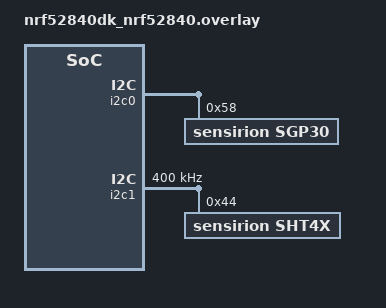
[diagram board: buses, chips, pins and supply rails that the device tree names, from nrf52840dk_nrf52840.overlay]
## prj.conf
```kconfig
CONFIG_FPU=y
CONFIG_I2C=y
CONFIG_CRC=y
CONFIG_AUXDISPLAY=y
CONFIG_AUXDISPLAY_AC780S=y
CONFIG_SENSOR=y
CONFIG_SGP30=y
CONFIG_SHT4X=y
CONFIG_BT=y
CONFIG_BT_DEVICE_NAME="nrf52840"
CONFIG_BT_PERIPHERAL=y
```

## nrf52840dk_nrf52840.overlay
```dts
&i2c0 {

    sgp30@58 {
        status = "okay";
        compatible = "sensirion,sgp30";
        reg = <0x58>;
    };
	
    //ac780s@3c {
	//	status = "okay";
	//	compatible = "ac780s";
	//	reg = <0x3C>;
	//	columns = <8>;
	//	rows = <2>;
	//};
};

&i2c1 {
	status = "okay";
	clock-frequency = <I2C_BITRATE_FAST>;
    
	sht4x@44 {
		status = "okay";
		compatible = "sensirion,sht4x";
		reg = <0x44>;
		repeatability = <2>;
	};
};

&pinctrl {
	i2c0_default: i2c0_default{
		group1 {
			psels = <NRF_PSEL(TWIM_SDA, 0, 26)>,
				<NRF_PSEL(TWIM_SCL, 0, 27)>;
			bias-pull-up;
		};
	};

	i2c0_sleep: i2c0_sleep{
		group1 {
			psels = <NRF_PSEL(TWIM_SDA, 0, 26)>,
				<NRF_PSEL(TWIM_SCL, 0, 27)>;
			low-power-enable;
		};
	};

};
```

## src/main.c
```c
#include <zephyr/kernel.h>

#include <zephyr/device.h>
#include <zephyr/drivers/sensor.h>
#include <zephyr/drivers/auxdisplay.h>
#include <stdio.h>
#include <math.h>
#define M_E 2.71828182845904523536
#include <zephyr/bluetooth/bluetooth.h>
#include <zephyr/bluetooth/hci.h>
#include <zephyr/bluetooth/conn.h>
#include <zephyr/bluetooth/uuid.h>
#include <zephyr/bluetooth/gatt.h>

#include <zephyr/drivers/sensor/sht4x.h>

//const static struct device *i2c0_disp = DEVICE_DT_GET(DT_CHILD(DT_NODELABEL(i2c0), ac780s_3c));
//const static struct device *i2c0_disp = DEVICE_DT_GET(DT_CHILD(DT_NODELABEL(i2c0), serlcd_72));
const static struct device *i2c1_therm = DEVICE_DT_GET(DT_CHILD(DT_NODELABEL(i2c1), sht4x_44));
const static struct device *i2c0_gas = DEVICE_DT_GET(DT_CHILD(DT_NODELABEL(i2c0), sgp30_58));

// define custom service UUID --> this is just something random I came up with, there are standard
// UUIDs for generic thermometers so a more refined version should use that
#define BT_UUID_CUSTOM_SERVICE_VAL \
    BT_UUID_128_ENCODE(0x90019001, 0x9001, 0x9001, 0x9001, 0x900190019001)

// init struct to hold custom uuid in little endian format
static const struct bt_uuid_128 custom_uuid = BT_UUID_INIT_128(
	BT_UUID_CUSTOM_SERVICE_VAL);

// custom UUID for temperature characteristic
static const struct bt_uuid_128 temp_uuid = BT_UUID_INIT_128(
	BT_UUID_128_ENCODE(0x90019001, 0xFFFF, 0xFFFF, 0xFFFF, 0x900190019001));

// custom UUID for humidity characteristic
static const struct bt_uuid_128 hum_uuid = BT_UUID_INIT_128(
	BT_UUID_128_ENCODE(0x90019001, 0x0000, 0x0000, 0x0000, 0x900190019001));

// values for each thing to transmit (temperature and humidity)
// these don't have to be arrays, just a uint would be fine you would just need to pass
// a pointer pointing to the uint when calling bt_gatt_attr_read
// keeping these as arrays also allows for easier extension... probably will put
// sensor val1 in index 0, sensor val2 in index 1
static uint8_t temp_value[1] = {66};
static uint8_t hum_value[1] = {77};

// functions to read temp and hum values over ble
static ssize_t read_temp(struct bt_conn *conn, const struct bt_gatt_attr *attr, 
    void *buf, uint16_t len, uint16_t offset) {
    // conn = ble connection object(?)
    // attr = attribute to read (temp or hum characteristic)
    // buf = buffer to store the value(s) (this is created by the gatt API)
    // len = length of the buffer (also handled by gatt API)
    // offset = offset within gatt buffer (or attribute value?) to start from
    // temp_value = pointer to value to send over BLE
    // 1 --> value_len = num bytes to read
    return bt_gatt_attr_read(conn, attr, buf, len, offset, temp_value, 1);
}

static ssize_t read_hum(struct bt_conn *conn, const struct bt_gatt_attr *attr, 
    void *buf, uint16_t len, uint16_t offset) {
    
    return bt_gatt_attr_read(conn, attr, buf, len, offset, hum_value, 1);
}

// declare a custom service for temp and hum
BT_GATT_SERVICE_DEFINE(temp_svc,
	BT_GATT_PRIMARY_SERVICE(&custom_uuid),      // say it's the primary service of the device
	BT_GATT_CHARACTERISTIC(
        &temp_uuid.uuid,            // give it a characteristic
		BT_GATT_CHRC_READ,              // with read property
		BT_GATT_PERM_READ,              // with attribute read permission
		read_temp,                      // read callback function
        NULL,                           // write callback function
        temp_value                      // value for the characteristic
    ),
    BT_GATT_CHARACTERISTIC(
        &hum_uuid.uuid,
        BT_GATT_CHRC_READ,
        BT_GATT_PERM_READ,
        read_hum,
        NULL,
        hum_value
    )
);

// data packet struct for advertising
// not all attributes need to be listed here to appear in the attribute table
// removing things from here will remove avertised characteristics
// need to figure out what the data flags, ad general, no bredr line does...
static const struct bt_data ad[] = {
	BT_DATA_BYTES(BT_DATA_FLAGS, (BT_LE_AD_GENERAL | BT_LE_AD_NO_BREDR)),
	BT_DATA_BYTES(BT_DATA_UUID128_ALL, BT_UUID_CUSTOM_SERVICE_VAL),
};

// function to call to start advertising, most examples had it passed to 
// ble_enable as an argument, then ble_enabled it, but that doesn't seem
// to be required
static void bt_ready() {

    int err = 0;

    printk("BLE init'ed\n");

    // start advertising BLE
    // BT_LE_ADV_CONN_FAST_1 --> bt_le_adv_param, struct to represent how to advertise,
    //      it seems complicated and I don't fully understand it but BT_LE_ADV_CONN_FAST_1
    //      is the default/reccomended for advertising as a peripheral
    // ad = struct of data to send out in advertising packets
    // ARRAY_SIZE(ad) = number of elements in ad, ARRAY_SIZE is a zephyr macro
    // NULL --> sd = struct of data to send out in scan response packets
    // 0 --> ARRAY_SIZE(sd) = number of elements in sd
    err = bt_le_adv_start(
        BT_LE_ADV_CONN_FAST_1,
        ad,
        ARRAY_SIZE(ad),
        NULL,
        0
    );

    if (err) {
        printk("Failed to start: err = [%d]\n", err);
        return;
    }

    printk("Success I think!\n");
}

// get a measurement from the SHT41, store in temp and hum structs
int getMeasurement(
    struct sensor_value* temp,
    struct sensor_value* hum,
    struct sensor_value* gas,
    struct sensor_value* tvoc,
    struct sensor_value* co2eq
    ) {
    int err = 0;

    if (sensor_sample_fetch(i2c1_therm)) {
        printf("sample fetch failed :( for SHT41\n");
        return 0;
    }
    err = sensor_sample_fetch(i2c0_gas);
    if (err) {
        printf("sample fetch failed :( for SGP30 err [%d]\n", err);
        return 0;
    }

    err = sensor_channel_get(i2c1_therm, SENSOR_CHAN_AMBIENT_TEMP, temp);
    if (err) {
        printk("Err [%d] in sht41\n", err);
    }
    err = sensor_channel_get(i2c1_therm, SENSOR_CHAN_HUMIDITY, hum);
    if (err) {
        printk("Err [%d] in sht41\n", err);
    }
    err = sensor_channel_get(i2c0_gas, SENSOR_CHAN_GAS_RES, gas);
    if (err) {
        printk("Err [%d] in sgp30\n", err);
    }
    err = sensor_channel_get(i2c0_gas, SENSOR_CHAN_CO2, co2eq);
    if (err) {
        printk("Err [%d] in sgp30\n", err);
    }
    err = sensor_channel_get(i2c0_gas, SENSOR_CHAN_VOC, tvoc);
    if (err) {
        printk("Err [%d] in sgp30\n", err);
    }


    printf("SHT4X: %02d Temp. [C] ; %02d RH [%%]\nSGP30 (raw): %02d H2 [sensor milliohms] ; %02d ETOH [sensor milliohms]\nSGP30 (iaq): %02d VOC [sensor milliohms] ; %02d CO2 [sensor milliohms]\n",
        temp->val1,
        hum->val1,
        gas->val1,
        gas->val2,
        tvoc->val1,
        co2eq->val1
    );

    return err;
}

int calculateAbsoluteHumidity(
    struct sensor_value temp,
    struct sensor_value relHum,
    struct sensor_value* absHum
) {

    float tempf = temp.val1 + (temp.val2 * powf(10,-6));
    float relHumf = relHum.val1 + (relHum.val2 * powf(10,-6));

    float absHumf = (float)216.7 * ( ( (relHumf/100) * (float)6.112 * powf(M_E, ((float)17.62 * tempf) / ((float)243.12 + tempf) ) ) / ((float)273.15 + tempf) );

    if (absHumf > INT32_MAX || absHumf < INT32_MIN) {
        return -EINVAL;
    }

    absHum->val1 = (int32_t) absHumf;
    absHum->val2 = (int32_t) (fmodf(absHumf, 1) * powf(10, 6));

    return 0;
}

int main(void) {

    //if (!device_is_ready(i2c0_disp)) {
	//	printf("i2c1 not ready :(\n");
	//	return 0;
	//}
    if (!device_is_ready(i2c1_therm)) {
		printf("i2c1 not ready :(\n");
		return 0;
	}
    if (!device_is_ready(i2c0_gas)) {
		printf("i2c0 not ready :(\n");
		return 0;
	}

    struct sensor_value temp, hum, gas, tvoc, co2eq, sentHum;

    int err = 0;

    err = getMeasurement(&temp, &hum, &gas, &tvoc, &co2eq);
    if (err) {
        printk("Error getting measurement: err = [%d]\n", err);
        return -1;
    }

    err = bt_enable(NULL);
    if (err) {
        printk("BLE init failed :( err = [%d]\n", err);
    }

    // returns void, cannot error check... unless used global variable?
    bt_ready();

    struct sensor_value testTemp;
    testTemp.val1 = 25;
    testTemp.val2 = 0;
    struct sensor_value testHum;
    testHum.val1 = 50;
    testHum.val2 = 0;
    struct sensor_value testAbsHum;
    calculateAbsoluteHumidity(testTemp, testHum, &testAbsHum);
    printk("This value should be 11.8, or very close to that: [%d.%d]\n", testAbsHum.val1, testAbsHum.val2);
    printk("If it's not the absolute humidity algorithm is broken...\n");
    k_msleep(5000);

    while (1) {
        
        err = getMeasurement(&temp, &hum, &gas, &tvoc, &co2eq);
        if (err) {
            printk("Error getting measurement: err = [%d]\n", err);
            return -1;
        }

        temp_value[0] = temp.val1;
        hum_value[0] = hum.val1;

        sentHum.val1 = hum.val1;
        sentHum.val2 = hum.val2;

        calculateAbsoluteHumidity(temp, hum, &sentHum);
        //printk("Setting SGP30 absolute humidity to [%d.%d]\n", sentHum.val1, sentHum.val2);
        err = sensor_attr_set(
            i2c0_gas,
            SENSOR_CHAN_GAS_RES,
            SENSOR_ATTR_CALIBRATION,
            &sentHum
        );
        //printk("attr_set return value: [%d]\n", err);


        k_msleep(1111);
    }


    return 0;
}
```
